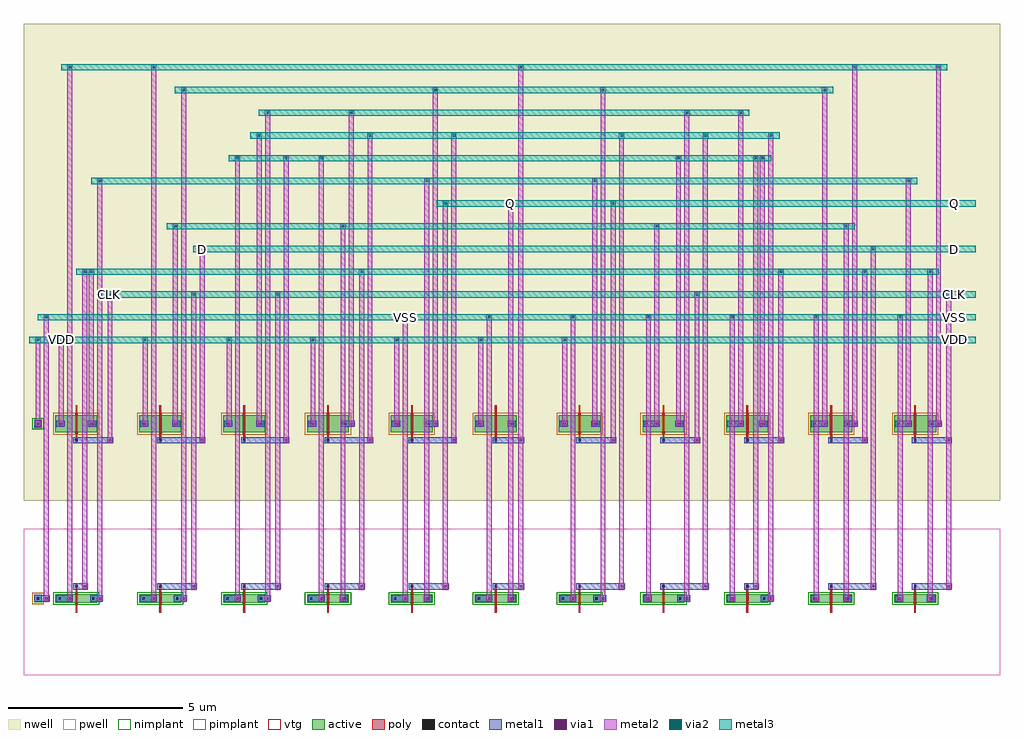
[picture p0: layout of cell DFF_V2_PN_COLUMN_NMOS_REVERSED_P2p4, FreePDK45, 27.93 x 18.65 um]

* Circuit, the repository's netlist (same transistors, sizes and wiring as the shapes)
* cell DFF_V2_PN_COLUMN_NMOS_REVERSED_P2p4
* pin Q
* pin CLK
* pin D
* pin VDD
* pin VSS
.SUBCKT DFF_V2_PN_COLUMN_NMOS_REVERSED_P2p4 6 8 9 12 13
* net 6 Q
* net 8 CLK
* net 9 D
* net 12 VDD
* net 13 VSS
* device instance $1 r0 *1 25.2,7 PMOS_VTG
M$1 1 8 2 12 PMOS_VTG L=0.05U W=0.5U AS=0.2875P AD=0.2875P PS=2.15U PD=2.15U
* device instance $2 r0 *1 20.4,7 PMOS_VTG
M$2 4 7 5 12 PMOS_VTG L=0.05U W=0.5U AS=0.2875P AD=0.2875P PS=2.15U PD=2.15U
* device instance $3 r0 *1 22.8,7 PMOS_VTG
M$3 1 7 3 12 PMOS_VTG L=0.05U W=0.5U AS=0.2875P AD=0.2875P PS=2.15U PD=2.15U
* device instance $4 r0 *1 18,7 PMOS_VTG
M$4 4 8 10 12 PMOS_VTG L=0.05U W=0.5U AS=0.2875P AD=0.2875P PS=2.15U PD=2.15U
* device instance $5 r0 *1 1.2,7 PMOS_VTG
M$5 7 8 12 12 PMOS_VTG L=0.05U W=0.5U AS=0.2875P AD=0.2875P PS=2.15U PD=2.15U
* device instance $6 r0 *1 8.4,7 PMOS_VTG
M$6 5 11 12 12 PMOS_VTG L=0.05U W=0.5U AS=0.2875P AD=0.2875P PS=2.15U PD=2.15U
* device instance $7 r0 *1 3.6,7 PMOS_VTG
M$7 10 9 12 12 PMOS_VTG L=0.05U W=0.5U AS=0.2875P AD=0.2875P PS=2.15U PD=2.15U
* device instance $8 r0 *1 6,7 PMOS_VTG
M$8 11 4 12 12 PMOS_VTG L=0.05U W=0.5U AS=0.2875P AD=0.2875P PS=2.15U PD=2.15U
* device instance $9 r0 *1 13.2,7 PMOS_VTG
M$9 6 1 12 12 PMOS_VTG L=0.05U W=0.5U AS=0.2875P AD=0.2875P PS=2.15U PD=2.15U
* device instance $10 r0 *1 10.8,7 PMOS_VTG
M$10 3 11 12 12 PMOS_VTG L=0.05U W=0.5U AS=0.2875P AD=0.2875P PS=2.15U PD=2.15U
* device instance $11 r0 *1 15.6,7 PMOS_VTG
M$11 2 6 12 12 PMOS_VTG L=0.05U W=0.5U AS=0.2875P AD=0.2875P PS=2.15U PD=2.15U
* device instance $12 r0 *1 25.2,2 NMOS_VTG
M$12 7 8 13 13 NMOS_VTG L=0.05U W=0.25U AS=0.14375P AD=0.14375P PS=1.65U
+ PD=1.65U
* device instance $13 r0 *1 22.8,2 NMOS_VTG
M$13 10 9 13 13 NMOS_VTG L=0.05U W=0.25U AS=0.14375P AD=0.14375P PS=1.65U
+ PD=1.65U
* device instance $14 r0 *1 18,2 NMOS_VTG
M$14 5 11 13 13 NMOS_VTG L=0.05U W=0.25U AS=0.14375P AD=0.14375P PS=1.65U
+ PD=1.65U
* device instance $15 r0 *1 15.6,2 NMOS_VTG
M$15 3 11 13 13 NMOS_VTG L=0.05U W=0.25U AS=0.14375P AD=0.14375P PS=1.65U
+ PD=1.65U
* device instance $16 r0 *1 1.2,2 NMOS_VTG
M$16 2 7 1 13 NMOS_VTG L=0.05U W=0.25U AS=0.14375P AD=0.14375P PS=1.65U PD=1.65U
* device instance $17 r0 *1 3.6,2 NMOS_VTG
M$17 3 8 1 13 NMOS_VTG L=0.05U W=0.25U AS=0.14375P AD=0.14375P PS=1.65U PD=1.65U
* device instance $18 r0 *1 6,2 NMOS_VTG
M$18 5 8 4 13 NMOS_VTG L=0.05U W=0.25U AS=0.14375P AD=0.14375P PS=1.65U PD=1.65U
* device instance $19 r0 *1 8.4,2 NMOS_VTG
M$19 10 7 4 13 NMOS_VTG L=0.05U W=0.25U AS=0.14375P AD=0.14375P PS=1.65U
+ PD=1.65U
* device instance $20 r0 *1 20.4,2 NMOS_VTG
M$20 11 4 13 13 NMOS_VTG L=0.05U W=0.25U AS=0.14375P AD=0.14375P PS=1.65U
+ PD=1.65U
* device instance $21 r0 *1 13.2,2 NMOS_VTG
M$21 6 1 13 13 NMOS_VTG L=0.05U W=0.25U AS=0.14375P AD=0.14375P PS=1.65U
+ PD=1.65U
* device instance $22 r0 *1 10.8,2 NMOS_VTG
M$22 2 6 13 13 NMOS_VTG L=0.05U W=0.25U AS=0.14375P AD=0.14375P PS=1.65U
+ PD=1.65U
.ENDS DFF_V2_PN_COLUMN_NMOS_REVERSED_P2p4

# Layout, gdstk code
import gdstk
lib = gdstk.Library(unit=1e-6, precision=5e-10)
def R(c, l, rs):  # rectangles x0, y0, x1, y1
    for r in rs: c.add(gdstk.rectangle(r[:2], r[2:], *l))
def A(c, l, x, y, w, h, nx, ny, dx, dy):  # array of equal rectangles
    R(c, l, [(x+i*dx, y+j*dy, x+i*dx+w, y+j*dy+h) for i in range(nx) for j in range(ny)])
active = (1, 0)
pwell = (2, 0)
nwell = (3, 0)
nimplant = (4, 0)
pimplant = (5, 0)
vtg = (6, 0)
poly = (9, 0)
contact = (10, 0)
metal1 = (11, 0)
via1 = (12, 0)
metal2 = (13, 0)
via2 = (14, 0)
metal3 = (15, 0)

dff_v2_pn_column_nmos_re = lib.new_cell('DFF_V2_PN_COLUMN_NMOS_REVERSED_P2p4')
A(dff_v2_pn_column_nmos_re, active, 0.6, 1.875, 1.2, 0.25, 11, 1, 2.4, 0)
A(dff_v2_pn_column_nmos_re, active, 0.6, 6.75, 1.2, 0.5, 11, 1, 2.4, 0)
R(dff_v2_pn_column_nmos_re, active, [(-0.01,1.89,0.21,2.11), (-0.01,6.89,0.21,7.11)])
R(dff_v2_pn_column_nmos_re, pwell, [(-0.3,-0.2,27.63,4)])
R(dff_v2_pn_column_nmos_re, nwell, [(-0.3,4.8,27.63,18.45)])
A(dff_v2_pn_column_nmos_re, nimplant, 0.54, 1.815, 1.32, 0.37, 11, 1, 2.4, 0)
R(dff_v2_pn_column_nmos_re, nimplant, [(-0.06,6.84,0.26,7.16)])
A(dff_v2_pn_column_nmos_re, pimplant, 0.54, 6.69, 1.32, 0.62, 11, 1, 2.4, 0)
R(dff_v2_pn_column_nmos_re, pimplant, [(-0.06,1.84,0.26,2.16)])
A(dff_v2_pn_column_nmos_re, vtg, 1.165, 1.845, 0.07, 0.31, 11, 1, 2.4, 0)
A(dff_v2_pn_column_nmos_re, vtg, 1.165, 6.72, 0.07, 0.56, 11, 1, 2.4, 0)
A(dff_v2_pn_column_nmos_re, poly, 1.175, 1.595, 0.05, 0.81, 11, 1, 2.4, 0)
A(dff_v2_pn_column_nmos_re, poly, 1.175, 6.47, 0.05, 1.06, 11, 1, 2.4, 0)
A(dff_v2_pn_column_nmos_re, contact, 1.17, 2.315, 0.065, 0.065, 11, 2, 2.4, 4.185)
R(dff_v2_pn_column_nmos_re, contact, [(0.07,1.97,0.135,2.035), (0.69,1.97,0.755,2.035), (1.65,1.97,1.715,2.035), (3.09,1.97,3.155,2.035), (4.05,1.97,4.115,2.035), (5.49,1.97,5.555,2.035), (6.45,1.97,6.515,2.035), (7.89,1.97,7.955,2.035), (8.85,1.97,8.915,2.035), (10.29,1.97,10.355,2.035), (11.25,1.97,11.315,2.035), (12.69,1.97,12.755,2.035), (13.65,1.97,13.715,2.035), (15.09,1.97,15.155,2.035), (16.05,1.97,16.115,2.035), (17.49,1.97,17.555,2.035), (18.45,1.97,18.515,2.035), (19.89,1.97,19.955,2.035), (20.85,1.97,20.915,2.035), (22.29,1.97,22.355,2.035), (23.25,1.97,23.315,2.035), (24.69,1.97,24.755,2.035), (25.65,1.97,25.715,2.035), (0.07,6.97,0.135,7.035), (0.69,6.97,0.755,7.035), (1.65,6.97,1.715,7.035), (3.09,6.97,3.155,7.035), (4.05,6.97,4.115,7.035), (5.49,6.97,5.555,7.035), (6.45,6.97,6.515,7.035), (7.89,6.97,7.955,7.035), (8.85,6.97,8.915,7.035), (10.29,6.97,10.355,7.035), (11.25,6.97,11.315,7.035), (12.69,6.97,12.755,7.035), (13.65,6.97,13.715,7.035), (15.09,6.97,15.155,7.035), (16.05,6.97,16.115,7.035), (17.49,6.97,17.555,7.035), (18.45,6.97,18.515,7.035), (19.89,6.97,19.955,7.035), (20.85,6.97,20.915,7.035), (22.29,6.97,22.355,7.035), (23.25,6.97,23.315,7.035), (24.69,6.97,24.755,7.035), (25.65,6.97,25.715,7.035)])
A(dff_v2_pn_column_nmos_re, metal1, 7.97, 1.91, 0.24, 0.18, 4, 1, 2.4, 0)
A(dff_v2_pn_column_nmos_re, metal1, 16.03, 1.91, 0.24, 0.18, 3, 1, 2.4, 0)
A(dff_v2_pn_column_nmos_re, metal1, 3.6, 2.255, 0.96, 0.18, 4, 1, 2.4, 0)
A(dff_v2_pn_column_nmos_re, metal1, 15.51, 2.255, 0.18, 0.18, 5, 1, 1.2, 0)
A(dff_v2_pn_column_nmos_re, metal1, 22.71, 2.255, 0.18, 0.18, 3, 1, 1.2, 0)
A(dff_v2_pn_column_nmos_re, metal1, 3.51, 6.44, 0.18, 0.18, 9, 1, 1.2, 0)
A(dff_v2_pn_column_nmos_re, metal1, 3.6, 6.44, 1.2, 0.18, 4, 1, 2.4, 0)
A(dff_v2_pn_column_nmos_re, metal1, 15.6, 6.44, 0.96, 0.18, 5, 1, 2.4, 0)
A(dff_v2_pn_column_nmos_re, metal1, 17.57, 6.91, 0.24, 0.18, 3, 1, 2.4, 0)
R(dff_v2_pn_column_nmos_re, metal1, [(0,1.9,0.2,2.1), (0.1,1.91,0.34,2.09), (0.1,1.91,0.34,2.09), (0.1,1.91,0.34,2.09), (0.1,1.91,0.34,2.09), (0.1,1.91,0.34,2.09), (0.1,1.91,0.34,2.09), (0.1,1.91,0.34,2.09), (0.1,1.91,0.34,2.09), (0.1,1.91,0.34,2.09), (0.1,1.91,0.34,2.09), (0.1,1.91,0.34,2.09), (0.1,1.91,0.34,2.09), (0.25,1.91,0.43,2.09), (0.25,1.91,0.43,2.09), (0.25,1.91,0.43,2.09), (0.25,1.91,0.43,2.09), (0.25,1.91,0.43,2.09), (0.25,1.91,0.43,2.09), (0.25,1.91,0.43,2.09), (0.25,1.91,0.43,2.09), (0.25,1.91,0.43,2.09), (0.25,1.91,0.43,2.09), (0.25,1.91,0.43,2.09), (0.25,1.91,0.43,2.09), (0.63,1.91,0.81,2.09), (0.77,1.91,1.01,2.09), (0.92,1.91,1.1,2.09), (1.59,1.91,1.77,2.09), (1.63,1.91,1.87,2.09), (1.78,1.91,1.96,2.09), (3.03,1.91,3.21,2.09), (3.17,1.91,3.41,2.09), (3.32,1.91,3.5,2.09), (3.99,1.91,4.17,2.09), (4.03,1.91,4.27,2.09), (4.18,1.91,4.36,2.09), (5.43,1.91,5.61,2.09), (5.57,1.91,5.81,2.09), (5.72,1.91,5.9,2.09), (6.39,1.91,6.57,2.09), (6.43,1.91,6.67,2.09), (6.58,1.91,6.76,2.09), (7.83,1.91,8.01,2.09), (8.12,1.91,8.3,2.09), (8.74,1.91,8.92,2.09), (8.79,1.91,8.97,2.09), (10.23,1.91,10.41,2.09), (10.52,1.91,10.7,2.09), (11.14,1.91,11.32,2.09), (11.19,1.91,11.37,2.09), (12.63,1.91,12.81,2.09), (12.92,1.91,13.1,2.09), (13.54,1.91,13.72,2.09), (13.59,1.91,13.77,2.09), (15.03,1.91,15.21,2.09), (15.32,1.91,15.5,2.09), (15.99,1.91,16.17,2.09), (16.18,1.91,16.36,2.09), (17.43,1.91,17.61,2.09), (17.48,1.91,17.66,2.09), (18.39,1.91,18.57,2.09), (18.58,1.91,18.76,2.09), (19.83,1.91,20.01,2.09), (19.88,1.91,20.06,2.09), (20.79,1.91,20.97,2.09), (20.98,1.91,21.16,2.09), (22.23,1.91,22.41,2.09), (22.28,1.91,22.46,2.09), (23.14,1.91,23.32,2.09), (23.19,1.91,23.37,2.09), (24.63,1.91,24.81,2.09), (24.68,1.91,24.86,2.09), (25.54,1.91,25.72,2.09), (25.59,1.91,25.77,2.09), (1.11,2.255,1.29,2.435), (1.2,2.255,1.44,2.435), (1.35,2.255,1.53,2.435), (3.51,2.255,3.69,2.435), (4.47,2.255,4.65,2.435), (5.91,2.255,6.09,2.435), (6.87,2.255,7.05,2.435), (8.31,2.255,8.49,2.435), (9.27,2.255,9.45,2.435), (10.71,2.255,10.89,2.435), (11.67,2.255,11.85,2.435), (13.11,2.255,13.29,2.435), (13.2,2.255,13.92,2.435), (13.83,2.255,14.01,2.435), (15.6,2.255,16.8,2.435), (18,2.255,19.2,2.435), (20.4,2.255,20.64,2.435), (20.55,2.255,20.73,2.435), (22.8,2.255,24,2.435), (25.2,2.255,26.16,2.435), (26.07,2.255,26.25,2.435), (1.11,6.44,1.29,6.62), (1.2,6.44,2.16,6.62), (2.07,6.44,2.25,6.62), (13.2,6.44,13.92,6.62), (13.83,6.44,14.01,6.62), (15.51,6.44,15.69,6.62), (16.47,6.44,16.65,6.62), (17.91,6.44,18.09,6.62), (18.87,6.44,19.05,6.62), (20.31,6.44,20.49,6.62), (21.27,6.44,21.45,6.62), (22.71,6.44,22.89,6.62), (23.67,6.44,23.85,6.62), (25.11,6.44,25.29,6.62), (26.07,6.44,26.25,6.62), (0,6.9,0.2,7.1), (0.01,6.91,0.19,7.09), (0.01,6.91,0.19,7.09), (0.01,6.91,0.19,7.09), (0.01,6.91,0.19,7.09), (0.01,6.91,0.19,7.09), (0.01,6.91,0.19,7.09), (0.01,6.91,0.19,7.09), (0.01,6.91,0.19,7.09), (0.01,6.91,0.19,7.09), (0.01,6.91,0.19,7.09), (0.01,6.91,0.19,7.09), (0.01,6.91,0.19,7.09), (0.63,6.91,0.81,7.09), (0.68,6.91,0.86,7.09), (1.54,6.91,1.72,7.09), (1.59,6.91,1.77,7.09), (3.03,6.91,3.21,7.09), (3.08,6.91,3.26,7.09), (3.94,6.91,4.12,7.09), (3.99,6.91,4.17,7.09), (5.43,6.91,5.61,7.09), (5.48,6.91,5.66,7.09), (6.34,6.91,6.52,7.09), (6.39,6.91,6.57,7.09), (7.83,6.91,8.01,7.09), (7.88,6.91,8.06,7.09), (8.79,6.91,8.97,7.09), (8.83,6.91,9.07,7.09), (8.98,6.91,9.16,7.09), (10.23,6.91,10.41,7.09), (10.28,6.91,10.46,7.09), (11.19,6.91,11.37,7.09), (11.23,6.91,11.47,7.09), (11.38,6.91,11.56,7.09), (12.63,6.91,12.81,7.09), (12.68,6.91,12.86,7.09), (13.54,6.91,13.72,7.09), (13.59,6.91,13.77,7.09), (15.03,6.91,15.21,7.09), (15.08,6.91,15.26,7.09), (15.94,6.91,16.12,7.09), (15.99,6.91,16.17,7.09), (17.43,6.91,17.61,7.09), (17.72,6.91,17.9,7.09), (18.34,6.91,18.52,7.09), (18.39,6.91,18.57,7.09), (19.83,6.91,20.01,7.09), (20.12,6.91,20.3,7.09), (20.74,6.91,20.92,7.09), (20.79,6.91,20.97,7.09), (22.23,6.91,22.41,7.09), (22.52,6.91,22.7,7.09), (23.19,6.91,23.37,7.09), (23.23,6.91,23.47,7.09), (23.38,6.91,23.56,7.09), (24.63,6.91,24.81,7.09), (24.77,6.91,25.01,7.09), (24.92,6.91,25.1,7.09), (25.59,6.91,25.77,7.09), (25.63,6.91,25.87,7.09), (25.78,6.91,25.96,7.09)])
A(dff_v2_pn_column_nmos_re, via1, 4.53, 2.315, 0.065, 0.065, 4, 1, 2.4, 0)
A(dff_v2_pn_column_nmos_re, via1, 4.77, 6.5, 0.065, 0.065, 4, 1, 2.4, 0)
A(dff_v2_pn_column_nmos_re, via1, 16.53, 6.5, 0.065, 0.065, 5, 1, 2.4, 0)
R(dff_v2_pn_column_nmos_re, via1, [(0.31,1.97,0.375,2.035), (0.31,1.97,0.375,2.035), (0.31,1.97,0.375,2.035), (0.31,1.97,0.375,2.035), (0.31,1.97,0.375,2.035), (0.31,1.97,0.375,2.035), (0.31,1.97,0.375,2.035), (0.31,1.97,0.375,2.035), (0.31,1.97,0.375,2.035), (0.31,1.97,0.375,2.035), (0.31,1.97,0.375,2.035), (0.31,1.97,0.375,2.035), (0.98,1.97,1.045,2.035), (1.84,1.97,1.905,2.035), (3.38,1.97,3.445,2.035), (4.24,1.97,4.305,2.035), (5.78,1.97,5.845,2.035), (6.64,1.97,6.705,2.035), (8.18,1.97,8.245,2.035), (8.8,1.97,8.865,2.035), (10.58,1.97,10.645,2.035), (11.2,1.97,11.265,2.035), (12.98,1.97,13.045,2.035), (13.6,1.97,13.665,2.035), (15.38,1.97,15.445,2.035), (16.24,1.97,16.305,2.035), (17.54,1.97,17.605,2.035), (18.64,1.97,18.705,2.035), (19.94,1.97,20.005,2.035), (21.04,1.97,21.105,2.035), (22.34,1.97,22.405,2.035), (23.2,1.97,23.265,2.035), (24.74,1.97,24.805,2.035), (25.6,1.97,25.665,2.035), (1.41,2.315,1.475,2.38), (13.89,2.315,13.955,2.38), (16.77,2.315,16.835,2.38), (19.17,2.315,19.235,2.38), (20.61,2.315,20.675,2.38), (23.97,2.315,24.035,2.38), (26.13,2.315,26.195,2.38), (2.13,6.5,2.195,6.565), (13.89,6.5,13.955,6.565), (0.07,6.97,0.135,7.035), (0.07,6.97,0.135,7.035), (0.07,6.97,0.135,7.035), (0.07,6.97,0.135,7.035), (0.07,6.97,0.135,7.035), (0.07,6.97,0.135,7.035), (0.07,6.97,0.135,7.035), (0.07,6.97,0.135,7.035), (0.07,6.97,0.135,7.035), (0.07,6.97,0.135,7.035), (0.07,6.97,0.135,7.035), (0.07,6.97,0.135,7.035), (0.74,6.97,0.805,7.035), (1.6,6.97,1.665,7.035), (3.14,6.97,3.205,7.035), (4,6.97,4.065,7.035), (5.54,6.97,5.605,7.035), (6.4,6.97,6.465,7.035), (7.94,6.97,8.005,7.035), (9.04,6.97,9.105,7.035), (10.34,6.97,10.405,7.035), (11.44,6.97,11.505,7.035), (12.74,6.97,12.805,7.035), (13.6,6.97,13.665,7.035), (15.14,6.97,15.205,7.035), (16,6.97,16.065,7.035), (17.78,6.97,17.845,7.035), (18.4,6.97,18.465,7.035), (20.18,6.97,20.245,7.035), (20.8,6.97,20.865,7.035), (22.58,6.97,22.645,7.035), (23.44,6.97,23.505,7.035), (24.98,6.97,25.045,7.035), (25.84,6.97,25.905,7.035)])
A(dff_v2_pn_column_nmos_re, metal2, 10.54, 2, 0.14, 8.05, 3, 1, 2.4, 0)
A(dff_v2_pn_column_nmos_re, metal2, 17.5, 2, 0.14, 8.05, 4, 1, 2.4, 0)
A(dff_v2_pn_column_nmos_re, metal2, 4.485, 2.27, 0.15, 0.15, 4, 1, 2.4, 0)
A(dff_v2_pn_column_nmos_re, metal2, 4.725, 6.455, 0.15, 0.15, 4, 1, 2.4, 0)
A(dff_v2_pn_column_nmos_re, metal2, 16.485, 6.455, 0.15, 0.15, 5, 1, 2.4, 0)
A(dff_v2_pn_column_nmos_re, metal2, 0.7, 7, 0.14, 2.4, 7, 1, 2.4, 0)
A(dff_v2_pn_column_nmos_re, metal2, 0.695, 9.325, 0.15, 0.15, 7, 1, 2.4, 0)
A(dff_v2_pn_column_nmos_re, metal2, 10.535, 9.975, 0.15, 0.15, 3, 1, 2.4, 0)
A(dff_v2_pn_column_nmos_re, metal2, 17.495, 9.975, 0.15, 0.15, 4, 1, 2.4, 0)
A(dff_v2_pn_column_nmos_re, metal2, 2.085, 10.625, 0.15, 0.15, 3, 1, 2.4, 0)
R(dff_v2_pn_column_nmos_re, metal2, [(0.265,1.925,0.415,2.075), (0.265,1.925,0.415,2.075), (0.265,1.925,0.415,2.075), (0.265,1.925,0.415,2.075), (0.265,1.925,0.415,2.075), (0.265,1.925,0.415,2.075), (0.265,1.925,0.415,2.075), (0.265,1.925,0.415,2.075), (0.265,1.925,0.415,2.075), (0.265,1.925,0.415,2.075), (0.265,1.925,0.415,2.075), (0.265,1.925,0.415,2.075), (0.935,1.925,1.085,2.075), (1.795,1.925,1.945,2.075), (3.335,1.925,3.485,2.075), (4.195,1.925,4.345,2.075), (5.735,1.925,5.885,2.075), (6.595,1.925,6.745,2.075), (8.135,1.925,8.285,2.075), (8.755,1.925,8.905,2.075), (10.535,1.925,10.685,2.075), (11.155,1.925,11.305,2.075), (12.935,1.925,13.085,2.075), (13.555,1.925,13.705,2.075), (15.335,1.925,15.485,2.075), (16.195,1.925,16.345,2.075), (17.495,1.925,17.645,2.075), (18.595,1.925,18.745,2.075), (19.895,1.925,20.045,2.075), (20.995,1.925,21.145,2.075), (22.295,1.925,22.445,2.075), (23.155,1.925,23.305,2.075), (24.695,1.925,24.845,2.075), (25.555,1.925,25.705,2.075), (0.27,2,0.41,10.05), (0.27,2,0.41,10.05), (0.27,2,0.41,10.05), (0.27,2,0.41,10.05), (0.27,2,0.41,10.05), (0.27,2,0.41,10.05), (0.27,2,0.41,10.05), (0.27,2,0.41,10.05), (0.27,2,0.41,10.05), (0.27,2,0.41,10.05), (0.27,2,0.41,10.05), (0.27,2,0.41,10.05), (0.94,2,1.08,17.2), (1.8,2,1.94,13.95), (3.34,2,3.48,17.2), (4.2,2,4.34,16.55), (5.74,2,5.88,14.6), (6.6,2,6.74,15.9), (8.14,2,8.28,14.6), (8.76,2,8.9,12.65), (11.16,2,11.3,13.95), (13.56,2,13.7,13.3), (16.2,2,16.34,16.55), (18.6,2,18.74,15.9), (21,2,21.14,15.25), (23.16,2,23.3,12.65), (25.56,2,25.7,11.35), (1.365,2.27,1.515,2.42), (13.845,2.27,13.995,2.42), (16.725,2.27,16.875,2.42), (19.125,2.27,19.275,2.42), (20.565,2.27,20.715,2.42), (23.925,2.27,24.075,2.42), (26.085,2.27,26.235,2.42), (1.37,2.345,1.51,11.35), (4.49,2.345,4.63,10.7), (6.89,2.345,7.03,10.7), (9.29,2.345,9.43,11.35), (11.69,2.345,11.83,13.3), (13.85,2.345,13.99,17.2), (16.73,2.345,16.87,15.25), (19.13,2.345,19.27,15.25), (20.57,2.345,20.71,14.6), (23.93,2.345,24.07,12), (26.09,2.345,26.23,10.7), (2.085,6.455,2.235,6.605), (13.845,6.455,13.995,6.605), (2.09,6.53,2.23,10.7), (4.73,6.53,4.87,12), (7.13,6.53,7.27,14.6), (9.53,6.53,9.67,15.25), (11.93,6.53,12.07,15.25), (13.85,6.53,13.99,17.2), (16.49,6.53,16.63,13.3), (18.89,6.53,19.03,10.7), (21.29,6.53,21.43,11.35), (23.69,6.53,23.83,11.35), (26.09,6.53,26.23,10.7), (0.025,6.925,0.175,7.075), (0.025,6.925,0.175,7.075), (0.025,6.925,0.175,7.075), (0.025,6.925,0.175,7.075), (0.025,6.925,0.175,7.075), (0.025,6.925,0.175,7.075), (0.025,6.925,0.175,7.075), (0.025,6.925,0.175,7.075), (0.025,6.925,0.175,7.075), (0.025,6.925,0.175,7.075), (0.025,6.925,0.175,7.075), (0.025,6.925,0.175,7.075), (0.695,6.925,0.845,7.075), (1.555,6.925,1.705,7.075), (3.095,6.925,3.245,7.075), (3.955,6.925,4.105,7.075), (5.495,6.925,5.645,7.075), (6.355,6.925,6.505,7.075), (7.895,6.925,8.045,7.075), (8.995,6.925,9.145,7.075), (10.295,6.925,10.445,7.075), (11.395,6.925,11.545,7.075), (12.695,6.925,12.845,7.075), (13.555,6.925,13.705,7.075), (15.095,6.925,15.245,7.075), (15.955,6.925,16.105,7.075), (17.735,6.925,17.885,7.075), (18.355,6.925,18.505,7.075), (20.135,6.925,20.285,7.075), (20.755,6.925,20.905,7.075), (22.535,6.925,22.685,7.075), (23.395,6.925,23.545,7.075), (24.935,6.925,25.085,7.075), (25.795,6.925,25.945,7.075), (0.03,7,0.17,9.4), (0.03,7,0.17,9.4), (0.03,7,0.17,9.4), (0.03,7,0.17,9.4), (0.03,7,0.17,9.4), (0.03,7,0.17,9.4), (0.03,7,0.17,9.4), (0.03,7,0.17,9.4), (0.03,7,0.17,9.4), (0.03,7,0.17,9.4), (0.03,7,0.17,9.4), (0.03,7,0.17,9.4), (1.56,7,1.7,11.35), (3.96,7,4.1,12.65), (6.36,7,6.5,15.25), (9,7,9.14,15.9), (11.4,7,11.54,16.55), (13.56,7,13.7,13.3), (15.96,7,16.1,13.95), (17.74,7,17.88,12.65), (18.36,7,18.5,14.6), (20.14,7,20.28,15.9), (20.76,7,20.9,14.6), (22.54,7,22.68,16.55), (23.4,7,23.54,17.2), (24.94,7,25.08,13.95), (25.8,7,25.94,17.2), (0.025,9.325,0.175,9.475), (0.025,9.325,0.175,9.475), (0.025,9.325,0.175,9.475), (0.025,9.325,0.175,9.475), (0.025,9.325,0.175,9.475), (0.025,9.325,0.175,9.475), (0.025,9.325,0.175,9.475), (0.025,9.325,0.175,9.475), (0.025,9.325,0.175,9.475), (0.025,9.325,0.175,9.475), (0.025,9.325,0.175,9.475), (0.025,9.325,0.175,9.475), (0.265,9.975,0.415,10.125), (0.265,9.975,0.415,10.125), (0.265,9.975,0.415,10.125), (0.265,9.975,0.415,10.125), (0.265,9.975,0.415,10.125), (0.265,9.975,0.415,10.125), (0.265,9.975,0.415,10.125), (0.265,9.975,0.415,10.125), (0.265,9.975,0.415,10.125), (0.265,9.975,0.415,10.125), (0.265,9.975,0.415,10.125), (0.265,9.975,0.415,10.125), (18.885,10.625,19.035,10.775), (26.085,10.625,26.235,10.775), (26.085,10.625,26.235,10.775), (1.365,11.275,1.515,11.425), (1.555,11.275,1.705,11.425), (9.285,11.275,9.435,11.425), (21.285,11.275,21.435,11.425), (23.685,11.275,23.835,11.425), (25.555,11.275,25.705,11.425), (4.725,11.925,4.875,12.075), (23.925,11.925,24.075,12.075), (3.955,12.575,4.105,12.725), (8.755,12.575,8.905,12.725), (17.735,12.575,17.885,12.725), (23.155,12.575,23.305,12.725), (11.685,13.225,11.835,13.375), (13.555,13.225,13.705,13.375), (13.555,13.225,13.705,13.375), (16.485,13.225,16.635,13.375), (1.795,13.875,1.945,14.025), (11.155,13.875,11.305,14.025), (15.955,13.875,16.105,14.025), (24.935,13.875,25.085,14.025), (5.735,14.525,5.885,14.675), (7.125,14.525,7.275,14.675), (8.135,14.525,8.285,14.675), (18.355,14.525,18.505,14.675), (20.565,14.525,20.715,14.675), (20.755,14.525,20.905,14.675), (6.355,15.175,6.505,15.325), (9.525,15.175,9.675,15.325), (11.925,15.175,12.075,15.325), (16.725,15.175,16.875,15.325), (19.125,15.175,19.275,15.325), (20.995,15.175,21.145,15.325), (6.595,15.825,6.745,15.975), (8.995,15.825,9.145,15.975), (18.595,15.825,18.745,15.975), (20.135,15.825,20.285,15.975), (4.195,16.475,4.345,16.625), (11.395,16.475,11.545,16.625), (16.195,16.475,16.345,16.625), (22.535,16.475,22.685,16.625), (0.935,17.125,1.085,17.275), (3.335,17.125,3.485,17.275), (13.845,17.125,13.995,17.275), (13.845,17.125,13.995,17.275), (23.395,17.125,23.545,17.275), (25.795,17.125,25.945,17.275)])
A(dff_v2_pn_column_nmos_re, via2, 0.74, 9.37, 0.065, 0.065, 7, 1, 2.4, 0)
A(dff_v2_pn_column_nmos_re, via2, 10.58, 10.02, 0.065, 0.065, 3, 1, 2.4, 0)
A(dff_v2_pn_column_nmos_re, via2, 17.54, 10.02, 0.065, 0.065, 4, 1, 2.4, 0)
A(dff_v2_pn_column_nmos_re, via2, 2.13, 10.67, 0.065, 0.065, 3, 1, 2.4, 0)
R(dff_v2_pn_column_nmos_re, via2, [(0.07,9.37,0.135,9.435), (0.07,9.37,0.135,9.435), (0.07,9.37,0.135,9.435), (0.07,9.37,0.135,9.435), (0.07,9.37,0.135,9.435), (0.07,9.37,0.135,9.435), (0.07,9.37,0.135,9.435), (0.07,9.37,0.135,9.435), (0.07,9.37,0.135,9.435), (0.07,9.37,0.135,9.435), (0.07,9.37,0.135,9.435), (0.07,9.37,0.135,9.435), (0.31,10.02,0.375,10.085), (0.31,10.02,0.375,10.085), (0.31,10.02,0.375,10.085), (0.31,10.02,0.375,10.085), (0.31,10.02,0.375,10.085), (0.31,10.02,0.375,10.085), (0.31,10.02,0.375,10.085), (0.31,10.02,0.375,10.085), (0.31,10.02,0.375,10.085), (0.31,10.02,0.375,10.085), (0.31,10.02,0.375,10.085), (0.31,10.02,0.375,10.085), (18.93,10.67,18.995,10.735), (26.13,10.67,26.195,10.735), (26.13,10.67,26.195,10.735), (1.41,11.32,1.475,11.385), (1.6,11.32,1.665,11.385), (9.33,11.32,9.395,11.385), (21.33,11.32,21.395,11.385), (23.73,11.32,23.795,11.385), (25.6,11.32,25.665,11.385), (4.77,11.97,4.835,12.035), (23.97,11.97,24.035,12.035), (4,12.62,4.065,12.685), (8.8,12.62,8.865,12.685), (17.78,12.62,17.845,12.685), (23.2,12.62,23.265,12.685), (11.73,13.27,11.795,13.335), (13.6,13.27,13.665,13.335), (13.6,13.27,13.665,13.335), (16.53,13.27,16.595,13.335), (1.84,13.92,1.905,13.985), (11.2,13.92,11.265,13.985), (16,13.92,16.065,13.985), (24.98,13.92,25.045,13.985), (5.78,14.57,5.845,14.635), (7.17,14.57,7.235,14.635), (8.18,14.57,8.245,14.635), (18.4,14.57,18.465,14.635), (20.61,14.57,20.675,14.635), (20.8,14.57,20.865,14.635), (6.4,15.22,6.465,15.285), (9.57,15.22,9.635,15.285), (11.97,15.22,12.035,15.285), (16.77,15.22,16.835,15.285), (19.17,15.22,19.235,15.285), (21.04,15.22,21.105,15.285), (6.64,15.87,6.705,15.935), (9.04,15.87,9.105,15.935), (18.64,15.87,18.705,15.935), (20.18,15.87,20.245,15.935), (4.24,16.52,4.305,16.585), (11.44,16.52,11.505,16.585), (16.24,16.52,16.305,16.585), (22.58,16.52,22.645,16.585), (0.98,17.17,1.045,17.235), (3.38,17.17,3.445,17.235), (13.89,17.17,13.955,17.235), (13.89,17.17,13.955,17.235), (23.44,17.17,23.505,17.235), (25.84,17.17,25.905,17.235)])
A(dff_v2_pn_column_nmos_re, metal3, 0.695, 9.325, 0.15, 0.15, 7, 1, 2.4, 0)
A(dff_v2_pn_column_nmos_re, metal3, 10.535, 9.975, 0.15, 0.15, 3, 1, 2.4, 0)
A(dff_v2_pn_column_nmos_re, metal3, 17.495, 9.975, 0.15, 0.15, 4, 1, 2.4, 0)
A(dff_v2_pn_column_nmos_re, metal3, 2.085, 10.625, 0.15, 0.15, 3, 1, 2.4, 0)
R(dff_v2_pn_column_nmos_re, metal3, [(-0.15,9.31,15.42,9.49), (15.42,9.31,26.93,9.49), (0.025,9.325,0.175,9.475), (0.025,9.325,0.175,9.475), (0.025,9.325,0.175,9.475), (0.025,9.325,0.175,9.475), (0.025,9.325,0.175,9.475), (0.025,9.325,0.175,9.475), (0.025,9.325,0.175,9.475), (0.025,9.325,0.175,9.475), (0.025,9.325,0.175,9.475), (0.025,9.325,0.175,9.475), (0.025,9.325,0.175,9.475), (0.025,9.325,0.175,9.475), (0.09,9.96,25.02,10.14), (25.02,9.96,26.93,10.14), (0.265,9.975,0.415,10.125), (0.265,9.975,0.415,10.125), (0.265,9.975,0.415,10.125), (0.265,9.975,0.415,10.125), (0.265,9.975,0.415,10.125), (0.265,9.975,0.415,10.125), (0.265,9.975,0.415,10.125), (0.265,9.975,0.415,10.125), (0.265,9.975,0.415,10.125), (0.265,9.975,0.415,10.125), (0.265,9.975,0.415,10.125), (0.265,9.975,0.415,10.125), (1.91,10.61,26.41,10.79), (26.41,10.61,26.93,10.79), (18.885,10.625,19.035,10.775), (26.085,10.625,26.235,10.775), (26.085,10.625,26.235,10.775), (1.19,11.26,25.88,11.44), (1.365,11.275,1.515,11.425), (1.555,11.275,1.705,11.425), (9.285,11.275,9.435,11.425), (21.285,11.275,21.435,11.425), (23.685,11.275,23.835,11.425), (25.555,11.275,25.705,11.425), (4.55,11.91,24.25,12.09), (24.25,11.91,26.93,12.09), (4.725,11.925,4.875,12.075), (23.925,11.925,24.075,12.075), (3.78,12.56,23.48,12.74), (3.955,12.575,4.105,12.725), (8.755,12.575,8.905,12.725), (17.735,12.575,17.885,12.725), (23.155,12.575,23.305,12.725), (11.51,13.21,16.81,13.39), (16.81,13.21,26.93,13.39), (11.685,13.225,11.835,13.375), (13.555,13.225,13.705,13.375), (13.555,13.225,13.705,13.375), (16.485,13.225,16.635,13.375), (1.62,13.86,25.26,14.04), (1.795,13.875,1.945,14.025), (11.155,13.875,11.305,14.025), (15.955,13.875,16.105,14.025), (24.935,13.875,25.085,14.025), (5.56,14.51,21.08,14.69), (5.735,14.525,5.885,14.675), (7.125,14.525,7.275,14.675), (8.135,14.525,8.285,14.675), (18.355,14.525,18.505,14.675), (20.565,14.525,20.715,14.675), (20.755,14.525,20.905,14.675), (6.18,15.16,21.32,15.34), (6.355,15.175,6.505,15.325), (9.525,15.175,9.675,15.325), (11.925,15.175,12.075,15.325), (16.725,15.175,16.875,15.325), (19.125,15.175,19.275,15.325), (20.995,15.175,21.145,15.325), (6.42,15.81,20.46,15.99), (6.595,15.825,6.745,15.975), (8.995,15.825,9.145,15.975), (18.595,15.825,18.745,15.975), (20.135,15.825,20.285,15.975), (4.02,16.46,22.86,16.64), (4.195,16.475,4.345,16.625), (11.395,16.475,11.545,16.625), (16.195,16.475,16.345,16.625), (22.535,16.475,22.685,16.625), (0.76,17.11,26.12,17.29), (0.935,17.125,1.085,17.275), (3.335,17.125,3.485,17.275), (13.845,17.125,13.995,17.275), (13.845,17.125,13.995,17.275), (23.395,17.125,23.545,17.275), (25.795,17.125,25.945,17.275)])
dff_v2_pn_column_nmos_re.add(gdstk.Label('VDD', (26.33,9.4), layer=15, texttype=0))
dff_v2_pn_column_nmos_re.add(gdstk.Label('VDD', (26.33,9.4), layer=15, texttype=1))
dff_v2_pn_column_nmos_re.add(gdstk.Label('VDD', (26.33,9.4), layer=15, texttype=2))
dff_v2_pn_column_nmos_re.add(gdstk.Label('VDD', (0.77,9.4), layer=13, texttype=0))
dff_v2_pn_column_nmos_re.add(gdstk.Label('VDD', (0.77,9.4), layer=13, texttype=1))
dff_v2_pn_column_nmos_re.add(gdstk.Label('VDD', (0.77,9.4), layer=13, texttype=2))
dff_v2_pn_column_nmos_re.add(gdstk.Label('VSS', (26.33,10.05), layer=15, texttype=0))
dff_v2_pn_column_nmos_re.add(gdstk.Label('VSS', (26.33,10.05), layer=15, texttype=1))
dff_v2_pn_column_nmos_re.add(gdstk.Label('VSS', (26.33,10.05), layer=15, texttype=2))
dff_v2_pn_column_nmos_re.add(gdstk.Label('VSS', (10.61,10.05), layer=13, texttype=0))
dff_v2_pn_column_nmos_re.add(gdstk.Label('VSS', (10.61,10.05), layer=13, texttype=1))
dff_v2_pn_column_nmos_re.add(gdstk.Label('VSS', (10.61,10.05), layer=13, texttype=2))
dff_v2_pn_column_nmos_re.add(gdstk.Label('D', (26.33,12), layer=15, texttype=0))
dff_v2_pn_column_nmos_re.add(gdstk.Label('D', (26.33,12), layer=15, texttype=1))
dff_v2_pn_column_nmos_re.add(gdstk.Label('D', (26.33,12), layer=15, texttype=2))
dff_v2_pn_column_nmos_re.add(gdstk.Label('D', (4.8,12), layer=13, texttype=0))
dff_v2_pn_column_nmos_re.add(gdstk.Label('D', (4.8,12), layer=13, texttype=1))
dff_v2_pn_column_nmos_re.add(gdstk.Label('D', (4.8,12), layer=13, texttype=2))
dff_v2_pn_column_nmos_re.add(gdstk.Label('Q', (26.33,13.3), layer=15, texttype=0))
dff_v2_pn_column_nmos_re.add(gdstk.Label('Q', (26.33,13.3), layer=15, texttype=1))
dff_v2_pn_column_nmos_re.add(gdstk.Label('Q', (26.33,13.3), layer=15, texttype=2))
dff_v2_pn_column_nmos_re.add(gdstk.Label('Q', (13.63,13.3), layer=13, texttype=0))
dff_v2_pn_column_nmos_re.add(gdstk.Label('Q', (13.63,13.3), layer=13, texttype=1))
dff_v2_pn_column_nmos_re.add(gdstk.Label('Q', (13.63,13.3), layer=13, texttype=2))
dff_v2_pn_column_nmos_re.add(gdstk.Label('CLK', (26.33,10.7), layer=15, texttype=0))
dff_v2_pn_column_nmos_re.add(gdstk.Label('CLK', (26.33,10.7), layer=15, texttype=1))
dff_v2_pn_column_nmos_re.add(gdstk.Label('CLK', (26.33,10.7), layer=15, texttype=2))
dff_v2_pn_column_nmos_re.add(gdstk.Label('CLK', (2.16,10.7), layer=13, texttype=0))
dff_v2_pn_column_nmos_re.add(gdstk.Label('CLK', (2.16,10.7), layer=13, texttype=1))
dff_v2_pn_column_nmos_re.add(gdstk.Label('CLK', (2.16,10.7), layer=13, texttype=2))

lib.write_gds('DFF_V2_PN_COLUMN_NMOS_REVERSED_P2p4.gds')
